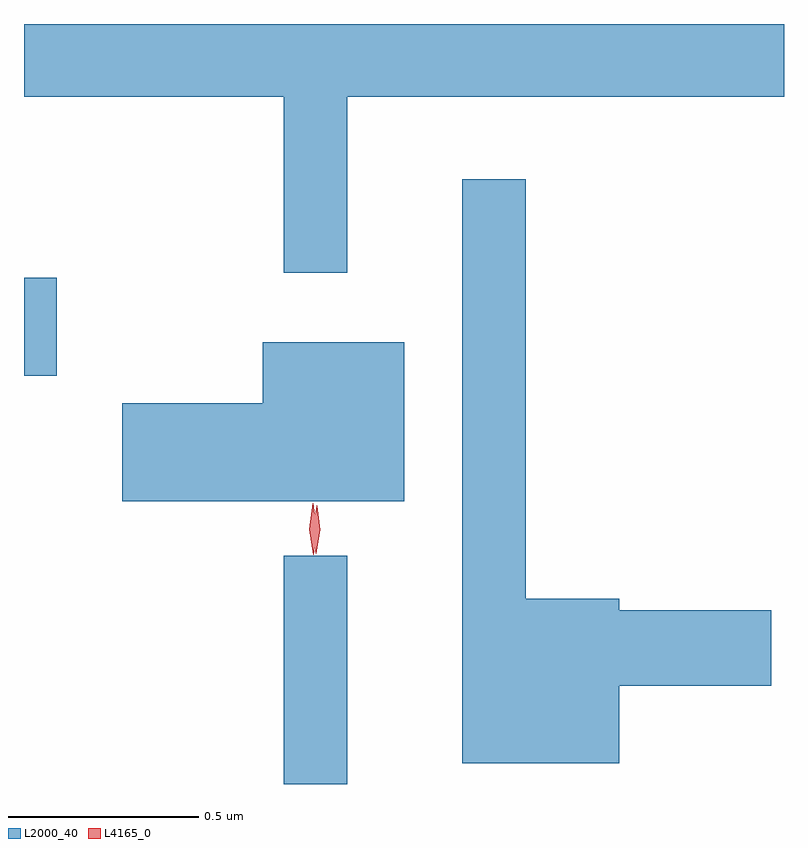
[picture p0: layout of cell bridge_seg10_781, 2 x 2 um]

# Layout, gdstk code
import gdstk
lib = gdstk.Library(unit=1e-6, precision=1e-09)
def R(c, l, rs):  # rectangles x0, y0, x1, y1
    for r in rs: c.add(gdstk.rectangle(r[:2], r[2:], *l))
def P(c, l, *ps):  # polygons
    for p in ps: c.add(gdstk.Polygon(p, *l))
L2000_40 = (2000, 40)
L4165_0 = (4165, 0)

bridge_seg10_781 = lib.new_cell('bridge_seg10_781')
R(bridge_seg10_781, L2000_40, [(610.141,2118.767,610.309,2119.368), (609.458,2119.841,609.544,2120.099)])
P(bridge_seg10_781, L2000_40, [(610.309,2120.576),(611.458,2120.576),(611.458,2120.767),(609.458,2120.767),(609.458,2120.576),(610.141,2120.576),(610.141,2120.113),(610.309,2120.113)],
  [(611.024,2119.026),(611.424,2119.026),(611.424,2119.224),(611.024,2119.224),(611.024,2119.254),(610.779,2119.254),(610.779,2120.358),(610.611,2120.358),(610.611,2118.821),(611.024,2118.821)],
  [(610.459,2119.929),(610.086,2119.929),(610.086,2119.769),(609.716,2119.769),(609.716,2119.511),(610.459,2119.511)])
P(bridge_seg10_781, L4165_0, [(610.219,2119.37),(610.219,2119.37),(610.209,2119.438),(610.218,2119.506),(610.218,2119.506),(610.219,2119.506),(610.229,2119.438),(610.22,2119.37)],
  [(610.227,2119.373),(610.226,2119.374),(610.218,2119.436),(610.228,2119.499),(610.229,2119.5),(610.23,2119.499),(610.238,2119.436),(610.227,2119.374)])

lib.write_gds('bridge_seg10_781.gds')
